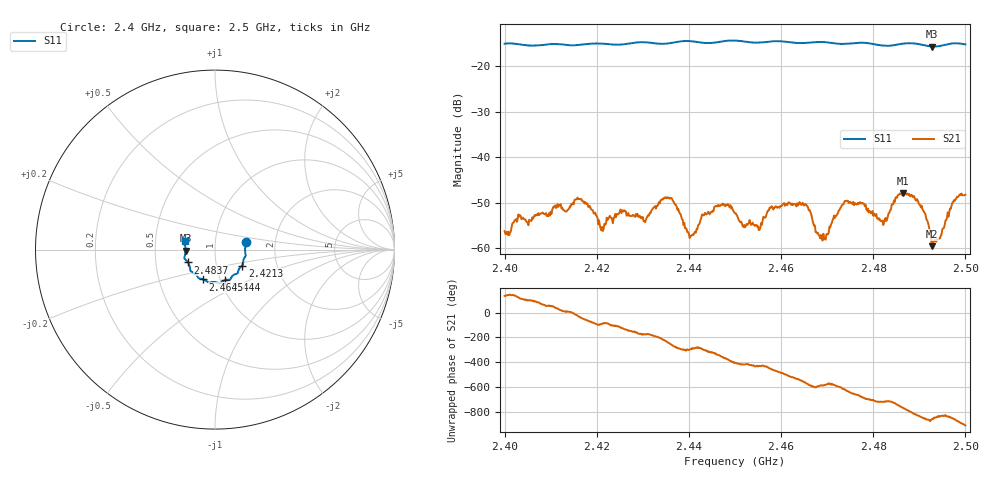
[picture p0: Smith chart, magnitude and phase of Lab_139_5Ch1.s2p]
# Hz S RI R 50
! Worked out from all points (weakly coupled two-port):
!   601 points, 2.4 GHz to 2.5 GHz, reference 50 ohm
!   highest |S21| = -47.97 dB at 2.4865 GHz (marker M1); lowest = -59.6 dB at 2.4927 GHz (marker M2)
!   lowest |S11| = -15.7 dB at 2.4928 GHz (marker M3), VSWR 1.39, Z = 35.9 - j0.381 ohm
!   |S11| at or under -10 dB: start of sweep to end of sweep
!   S12 and S22 are empty: the file has one direction only
!   S11 on the Smith chart (normalised r, x): 2.4 GHz: 1.41, +0.12; 2.4213 GHz: 1.33, -0.25; 2.444 GHz: 1.06, -0.37; 2.4645 GHz: 0.83, -0.29; 2.4837 GHz: 0.73, -0.11; 2.5 GHz: 0.71, +0.07
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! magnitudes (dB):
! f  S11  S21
! 2.4 GHz  -15.1  -56.2
! 2.4167 GHz  -15.3  -49.2
! 2.4213 GHz  -15.1  -56.2
! 2.4307 GHz  -14.8  -53.8
! 2.4333 GHz  -15.1  -50.3
! 2.4362 GHz  -14.9  -49.0
! 2.4405 GHz  -14.6  -57.3
! 2.444 GHz  -15.0  -52.4
! 2.45 GHz  -14.4  -52.3
! 2.455 GHz  -14.9  -55.2
! 2.4577 GHz  -14.6  -51.1
! 2.4645 GHz  -15.0  -50.5
! 2.4667 GHz  -14.8  -53.1
! 2.4692 GHz  -14.7  -56.8
! 2.474 GHz  -15.1  -49.7
! 2.4833 GHz  -15.6  -52.4
! 2.4837 GHz  -15.5  -51.7
! 2.4865 GHz  -15.1  -48.0
! 2.49 GHz  -15.2  -50.4
! 2.4927 GHz  -15.7  -59.6
! 2.4928 GHz  -15.7  -58.5
! 2.5 GHz  -15.3  -48.3
